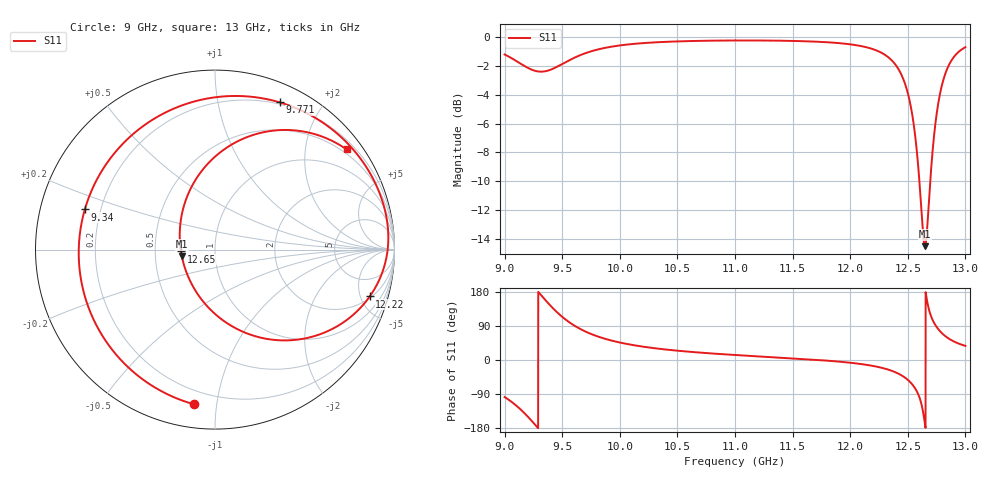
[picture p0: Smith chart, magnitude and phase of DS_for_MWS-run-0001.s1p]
! TOUCHSTONE file generated by CST DESIGN STUDIO
! Date and time: Wed Feb  5 13:27:41 2025
! Project name: C:\Work\MatlabApps\UnitCellOptimizationMatlab\CST\unitcell.cst
! Tree item: Tasks\Sweep1\SPara1\S-Parameters
! Header version: 2024
! Port assignment regex: !\s*Touchstone port\s*([0-9]+)\s*=\s*(CST MWS port|CST DES external port|CST DES block port)\s*(.+)\s* \(\"(.*)\"\)(\s*mode\s*([0-9]+))?.*
! Touchstone port assignment:
! Touchstone port 1 = CST DES external port 1 ("")
# GHz S MA R 50
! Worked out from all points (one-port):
!   4001 points, 9 GHz to 13 GHz, reference 50 ohm
!   lowest |S11| = -14.5 dB at 12.65 GHz (marker M1), VSWR 1.46, Z = 34.3 - j2.61 ohm
!   |S11| at or under -10 dB: 12.6 GHz to 12.7 GHz (94.24 MHz wide, 0.745 % of centre)
!   S11 on the Smith chart (normalised r, x): 9 GHz: 0.12, -0.87; 9.34 GHz: 0.14, +0.15; 9.771 GHz: 0.18, +1.52; 12.22 GHz: 2.16, -5.99; 12.65 GHz: 0.68, -0.01; 13 GHz: 0.40, +2.92
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9  0.8695 -97.8
9.078  0.8361 -114.6
9.153  0.8015 -134.6
9.251  0.766 -166.0
9.34  0.759 162.9
9.422  0.7766 135.9
9.5  0.8057 113.9
9.615  0.8504 89.0
9.771  0.8963 66.2
10  0.9343 46.1
10.217  0.9526 34.5
10.5  0.9647 24.6
11  0.972 13.2
11.5  0.9685 4.4
12  0.9427 -7.2
12.218  0.9009 -16.8
12.382  0.8117 -31.0
12.5  0.6389 -52.4
12.541  0.5307 -65.2
12.577  0.4078 -81.8
12.63  0.2152 -132.9
12.649  0.1885 -168.8
12.653  0.19 -177.0
12.687  0.2832 129.4
12.725  0.4429 99.8
12.786  0.6534 73.9
12.887  0.8383 50.9
13  0.9213 37.3
